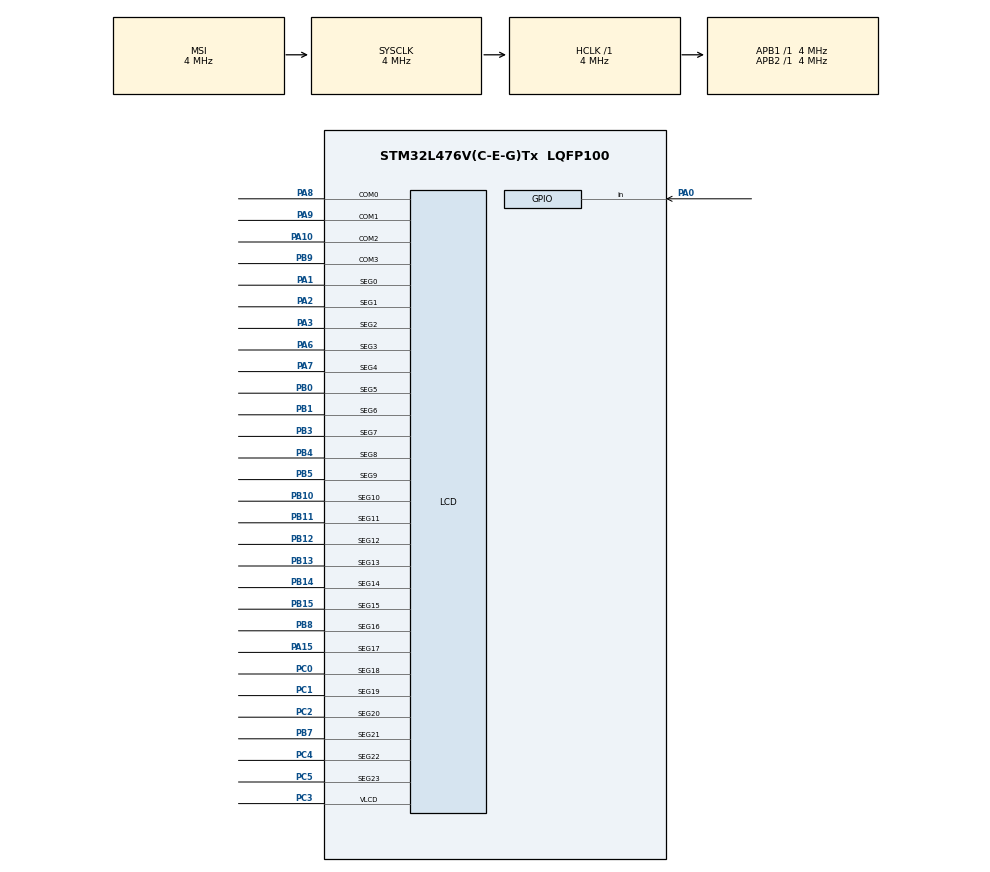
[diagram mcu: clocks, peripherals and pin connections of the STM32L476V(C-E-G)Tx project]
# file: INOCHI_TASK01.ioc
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FREERTOS.Tasks01=Task01,0,128,Task01_init,Default,NULL,Dynamic,NULL,NULL;Task02,0,128,Task02_init,Default,NULL,Dynamic,NULL,NULL
Mcu.Family=STM32L4
Mcu.Name=STM32L476V(C-E-G)Tx
Mcu.Package=LQFP100
NVIC.PriorityGroup=NVIC_PRIORITYGROUP_4
NVIC.TIM1_UP_TIM16_IRQn=true\:0\:0\:false\:false\:true\:false\:false\:true
NVIC.TimeBase=TIM1_UP_TIM16_IRQn
NVIC.TimeBaseIP=TIM1
PA0.Signal=GPIO_Input
PA1.Mode=SEG0
PA1.Signal=LCD_SEG0
PA10.Mode=1/4 Duty Cycle
PA10.Signal=LCD_COM2
PA15\ (JTDI).Mode=SEG17
PA15\ (JTDI).Signal=LCD_SEG17
PA2.Mode=SEG1
PA2.Signal=LCD_SEG1
PA3.Mode=SEG2
PA3.Signal=LCD_SEG2
PA6.Mode=SEG3
PA6.Signal=LCD_SEG3
PA7.Mode=SEG4
PA7.Signal=LCD_SEG4
PA8.Mode=1/4 Duty Cycle
PA8.Signal=LCD_COM0
PA9.Mode=1/4 Duty Cycle
PA9.Signal=LCD_COM1
PB0.Mode=SEG5
PB0.Signal=LCD_SEG5
PB1.Mode=SEG6
PB1.Signal=LCD_SEG6
PB10.Mode=SEG10
PB10.Signal=LCD_SEG10
PB11.Mode=SEG11
PB11.Signal=LCD_SEG11
PB12.Mode=SEG12
PB12.Signal=LCD_SEG12
PB13.Mode=SEG13
PB13.Signal=LCD_SEG13
PB14.Mode=SEG14
PB14.Signal=LCD_SEG14
PB15.Mode=SEG15
PB15.Signal=LCD_SEG15
PB3\ (JTDO-TRACESWO).Mode=SEG7
PB3\ (JTDO-TRACESWO).Signal=LCD_SEG7
PB4\ (NJTRST).Mode=SEG8
PB4\ (NJTRST).Signal=LCD_SEG8
PB5.Mode=SEG9
PB5.Signal=LCD_SEG9
PB7.Mode=SEG21
PB7.Signal=LCD_SEG21
PB8.Mode=SEG16
PB8.Signal=LCD_SEG16
PB9.Mode=1/4 Duty Cycle
PB9.Signal=LCD_COM3
PC0.Mode=SEG18
PC0.Signal=LCD_SEG18
PC1.Mode=SEG19
PC1.Signal=LCD_SEG19
PC2.Mode=SEG20
PC2.Signal=LCD_SEG20
PC3.Mode=1/4 Duty Cycle
PC3.Signal=LCD_VLCD
PC4.Mode=SEG22
PC4.Signal=LCD_SEG22
PC5.Mode=SEG23
PC5.Signal=LCD_SEG23
PH0-OSC_IN\ (PH0).Mode=HSE-External-Oscillator
PH0-OSC_IN\ (PH0).Signal=RCC_OSC_IN
PH1-OSC_OUT\ (PH1).Mode=HSE-External-Oscillator
PH1-OSC_OUT\ (PH1).Signal=RCC_OSC_OUT
ProjectManager.HeapSize=0x200
ProjectManager.StackSize=0x400
ProjectManager.TargetToolchain=STM32CubeIDE
RCC.ADCFreq_Value=48000000
RCC.AHBFreq_Value=4000000
RCC.APB1Freq_Value=4000000
RCC.APB1TimFreq_Value=4000000
RCC.APB2Freq_Value=4000000
RCC.APB2TimFreq_Value=4000000
RCC.CortexFreq_Value=4000000
RCC.HCLKFreq_Value=4000000
RCC.HSE_VALUE=8000000
RCC.HSI_VALUE=16000000
RCC.LSE_VALUE=32768
RCC.MSI_VALUE=4000000
RCC.PLLN=20
RCC.PLLSAI1N=24
RCC.PREFETCH_ENABLE=1
RCC.SYSCLKFreq_VALUE=4000000
RCC.USBFreq_Value=48000000
RCC.VCOOutputFreq_Value=80000000
VP_FREERTOS_VS_CMSIS_V1.Mode=CMSIS_V1
VP_SYS_VS_tim1.Mode=TIM1
board=STM32L476G-DISCO

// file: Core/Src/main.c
/* USER CODE BEGIN Header */
/**
  ******************************************************************************
  * @file           : main.c
  * @brief          : Main program body
  * @DEVELOPED BY: MOHAMMAD EJAZ MOBASHIR
  ******************************************************************************
  * @attention
  *
  * <h2><center>&copy; Copyright (c) 2021 STMicroelectronics.
  * All rights reserved.</center></h2>
  *
  * This software component is licensed by ST under Ultimate Liberty license
  * SLA0044, the "License"; You may not use this file except in compliance with
  * the License. You may obtain a copy of the License at:
  *                             www.st.com/SLA0044
  *
  ******************************************************************************
  */
/* USER CODE END Header */
#include "main.h"
#include "cmsis_os.h"
#include "stm32l476g_discovery_glass_lcd.h"
/* USER CODE BEGIN Includes */

LCD_HandleTypeDef LCDHandle;

osThreadId Task01Handle;
osThreadId Task02Handle;

/* USER CODE BEGIN PV */

void SystemClock_Config(void);
static void MX_GPIO_Init(void);
void BSP_LCD_GLASS_Init(void);
//static void MX_LCD_Init(void);
void Task01_init(void const * argument);
void Task02_init(void const * argument);

int main(void)
{

  /* MCU Configuration--------------------------------------------------------*/

  /* Reset of all peripherals, Initializes the Flash interface and the Systick. */
  HAL_Init();

  /* Configure the system clock */
  SystemClock_Config();

  /* Initialize all configured peripherals */
  MX_GPIO_Init();

  BSP_LCD_GLASS_Init();

  /* Create the thread(s) */
  /* definition and creation of Task01 */
  osThreadDef(Task01, Task01_init, osPriorityNormal, 0, 128);
  Task01Handle = osThreadCreate(osThread(Task01), NULL);

  /* definition and creation of Task02 */
  osThreadDef(Task02, Task02_init, osPriorityNormal, 0, 128);
  Task02Handle = osThreadCreate(osThread(Task02), NULL);

  /* Start scheduler */
  osKernelStart();

  /* We should never get here as control is now taken by the scheduler */
  /* Infinite loop */
  /* USER CODE BEGIN WHILE */
  while (1)
  {}
}

void SystemClock_Config(void)
{
  RCC_OscInitTypeDef RCC_OscInitStruct = {0};
  RCC_ClkInitTypeDef RCC_ClkInitStruct = {0};
  RCC_PeriphCLKInitTypeDef PeriphClkInit = {0};

  /** Initializes the RCC Oscillators according to the specified parameters
  * in the RCC_OscInitTypeDef structure.
  */
  RCC_OscInitStruct.OscillatorType = RCC_OSCILLATORTYPE_LSI|RCC_OSCILLATORTYPE_MSI;
  RCC_OscInitStruct.LSIState = RCC_LSI_ON;
  RCC_OscInitStruct.MSIState = RCC_MSI_ON;
  RCC_OscInitStruct.MSICalibrationValue = 0;
  RCC_OscInitStruct.MSIClockRange = RCC_MSIRANGE_6;
  RCC_OscInitStruct.PLL.PLLState = RCC_PLL_NONE;
  if (HAL_RCC_OscConfig(&RCC_OscInitStruct) != HAL_OK)
  {
    Error_Handler();
  }
  /** Initializes the CPU, AHB and APB buses clocks
  */
  RCC_ClkInitStruct.ClockType = RCC_CLOCKTYPE_HCLK|RCC_CLOCKTYPE_SYSCLK
                              |RCC_CLOCKTYPE_PCLK1|RCC_CLOCKTYPE_PCLK2;
  RCC_ClkInitStruct.SYSCLKSource = RCC_SYSCLKSOURCE_MSI;
  RCC_ClkInitStruct.AHBCLKDivider = RCC_SYSCLK_DIV1;
  RCC_ClkInitStruct.APB1CLKDivider = RCC_HCLK_DIV1;
  RCC_ClkInitStruct.APB2CLKDivider = RCC_HCLK_DIV1;

  if (HAL_RCC_ClockConfig(&RCC_ClkInitStruct, FLASH_LATENCY_0) != HAL_OK)
  {
    Error_Handler();
  }
  PeriphClkInit.PeriphClockSelection = RCC_PERIPHCLK_RTC;
  PeriphClkInit.RTCClockSelection = RCC_RTCCLKSOURCE_LSI;
  if (HAL_RCCEx_PeriphCLKConfig(&PeriphClkInit) != HAL_OK)
  {
    Error_Handler();
  }
  /** Configure the main internal regulator output voltage
  */
  if (HAL_PWREx_ControlVoltageScaling(PWR_REGULATOR_VOLTAGE_SCALE1) != HAL_OK)
  {
    Error_Handler();
  }
}

static void MX_GPIO_Init(void)
{
  GPIO_InitTypeDef GPIO_InitStruct = {0};

  /* GPIO Ports Clock Enable */
  __HAL_RCC_GPIOH_CLK_ENABLE();
  __HAL_RCC_GPIOC_CLK_ENABLE();
  __HAL_RCC_GPIOA_CLK_ENABLE();
  __HAL_RCC_GPIOB_CLK_ENABLE();

  /*Configure GPIO pin : PA0 */
  GPIO_InitStruct.Pin = GPIO_PIN_0;
  GPIO_InitStruct.Mode = GPIO_MODE_INPUT;
  GPIO_InitStruct.Pull = GPIO_NOPULL;
  HAL_GPIO_Init(GPIOA, &GPIO_InitStruct);

}

void Task01_init(void const * argument)
{
 uint8_t arr[10]= {"0123456789"};

  for(;;)
  {
	  for(int y=0; y<6;y++)
	  	  {
	         for(int x=0;x<10;x++)
	         {
	  	        BSP_LCD_GLASS_DisplayChar(&arr[y], POINT_OFF, DOUBLEPOINT_OFF,LCD_DIGIT_POSITION_1);
	  	        BSP_LCD_GLASS_DisplayChar(&arr[x], POINT_OFF, DOUBLEPOINT_OFF,LCD_DIGIT_POSITION_2);
                HAL_LCD_UpdateDisplayRequest(&LCDHandle);

                osDelay(1000);
	         }

	       }

  }
  /* USER CODE END 5 */
}

void Task02_init(void const * argument)
{
  /* USER CODE BEGIN Task02_init */
	int x=0;
	int y=0;
	uint8_t arr[10]= {"0123456789"};
  /* Infinite loop */
  for(;;)
  {
	if(HAL_GPIO_ReadPin(GPIOA, GPIO_PIN_0)>0)
	{
		if(x<9)
		{
			x++;
		}
		else
		{
			x=0;
			if(y<5)
			{
				y++;
			}
			else
			{
				y=0;
			}
		}
	}

	 BSP_LCD_GLASS_DisplayChar(&arr[x], POINT_OFF, DOUBLEPOINT_OFF,LCD_DIGIT_POSITION_5);
	 BSP_LCD_GLASS_DisplayChar(&arr[y], POINT_OFF, DOUBLEPOINT_OFF,LCD_DIGIT_POSITION_4);
     HAL_LCD_UpdateDisplayRequest(&LCDHandle);

     osDelay(200);

  }
  /* USER CODE END Task02_init */
}

 /**
  * @brief  Period elapsed callback in non blocking mode
  * @note   This function is called  when TIM1 interrupt took place, inside
  * HAL_TIM_IRQHandler(). It makes a direct call to HAL_IncTick() to increment
  * a global variable "uwTick" used as application time base.
  * @param  htim : TIM handle
  * @retval None
  */
void HAL_TIM_PeriodElapsedCallback(TIM_HandleTypeDef *htim)
{
  if (htim->Instance == TIM1) {
    HAL_IncTick();
  }
}

void Error_Handler(void)
{
  __disable_irq();
  while (1)
  {
  }
}

/************************ (C) COPYRIGHT STMicroelectronics *****END OF FILE****/
